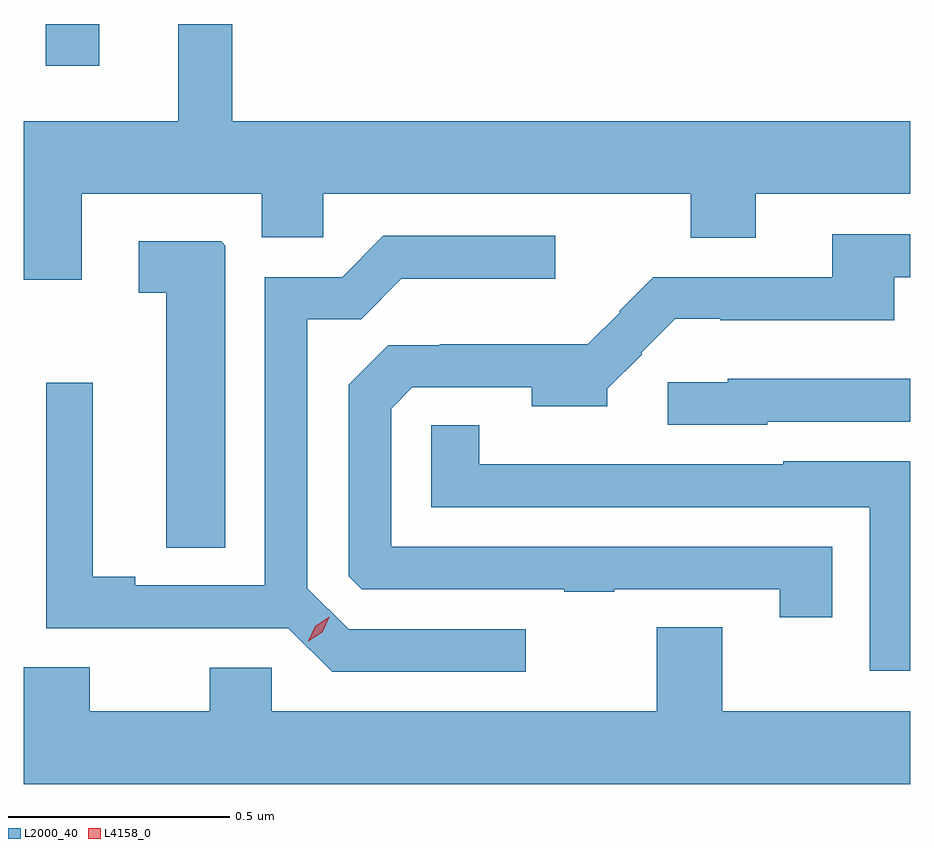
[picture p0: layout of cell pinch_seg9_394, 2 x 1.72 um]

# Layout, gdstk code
import gdstk
lib = gdstk.Library(unit=1e-6, precision=1e-09)
def R(c, l, rs):  # rectangles x0, y0, x1, y1
    for r in rs: c.add(gdstk.rectangle(r[:2], r[2:], *l))
def P(c, l, *ps):  # polygons
    for p in ps: c.add(gdstk.Polygon(p, *l))
L2000_40 = (2000, 40)
L4158_0 = (4158, 0)

pinch_seg9_394 = lib.new_cell('pinch_seg9_394')
R(pinch_seg9_394, L2000_40, [(276.048,1219.353,276.169,1219.447)])
P(pinch_seg9_394, L2000_40, [(276.13,1219.064),(276.536,1219.064),(276.536,1218.966),(276.675,1218.966),(276.675,1219.064),(277.504,1219.064),(277.504,1218.965),(277.651,1218.965),(277.651,1219.064),(277.999,1219.064),(277.999,1219.228),(276.469,1219.228),(276.469,1219.447),(276.347,1219.447),(276.347,1219.228),(275.999,1219.228),(275.999,1218.87),(276.13,1218.87)],
  [(277.823,1218.267),(276.828,1218.267),(276.828,1218.579),(276.876,1218.627),(277.145,1218.627),(277.145,1218.584),(277.316,1218.584),(277.316,1218.624),(277.395,1218.702),(277.392,1218.705),(277.469,1218.782),(277.57,1218.782),(277.57,1218.779),(277.963,1218.779),(277.963,1218.876),(277.999,1218.876),(277.999,1218.972),(277.823,1218.972),(277.823,1218.876),(277.419,1218.876),(277.343,1218.799),(277.345,1218.797),(277.271,1218.724),(276.937,1218.724),(276.937,1218.722),(276.821,1218.722),(276.732,1218.633),(276.732,1218.201),(276.762,1218.171),(277.219,1218.171),(277.219,1218.166),(277.331,1218.166),(277.331,1218.171),(277.705,1218.171),(277.705,1218.108),(277.823,1218.108)],
  [(277.132,1218.081),(276.732,1218.081),(276.639,1218.174),(276.639,1218.781),(276.76,1218.781),(276.851,1218.872),(277.198,1218.872),(277.198,1218.969),(276.81,1218.969),(276.717,1218.876),(276.543,1218.876),(276.543,1218.18),(276.25,1218.18),(276.25,1218.2),(276.154,1218.2),(276.154,1218.637),(276.05,1218.637),(276.05,1218.084),(276.596,1218.084),(276.695,1217.985),(277.132,1217.985)],
  [(276.454,1218.947),(276.444,1218.957),(276.258,1218.957),(276.258,1218.841),(276.32,1218.841),(276.32,1218.265),(276.454,1218.265)],
  [(277.677,1218.549),(277.999,1218.549),(277.999,1218.646),(277.587,1218.646),(277.587,1218.639),(277.452,1218.639),(277.452,1218.543),(277.677,1218.543)],
  [(277.999,1218.46),(277.713,1218.46),(277.713,1218.453),(277.281,1218.453),(277.281,1218.454),(277.027,1218.454),(277.027,1218.542),(276.918,1218.542),(276.918,1218.357),(277.908,1218.357),(277.908,1217.988),(277.999,1217.988)],
  [(277.999,1217.896),(277.575,1217.896),(277.575,1218.086),(277.427,1218.086),(277.427,1217.896),(276.558,1217.896),(276.558,1217.994),(276.419,1217.994),(276.419,1217.896),(276.148,1217.896),(276.148,1217.995),(275.999,1217.995),(275.999,1217.732),(277.999,1217.732)])
P(pinch_seg9_394, L4158_0, [(276.641,1218.054),(276.641,1218.054),(276.657,1218.088),(276.688,1218.109),(276.688,1218.109),(276.688,1218.108),(276.672,1218.075),(276.641,1218.054)])

lib.write_gds('pinch_seg9_394.gds')
